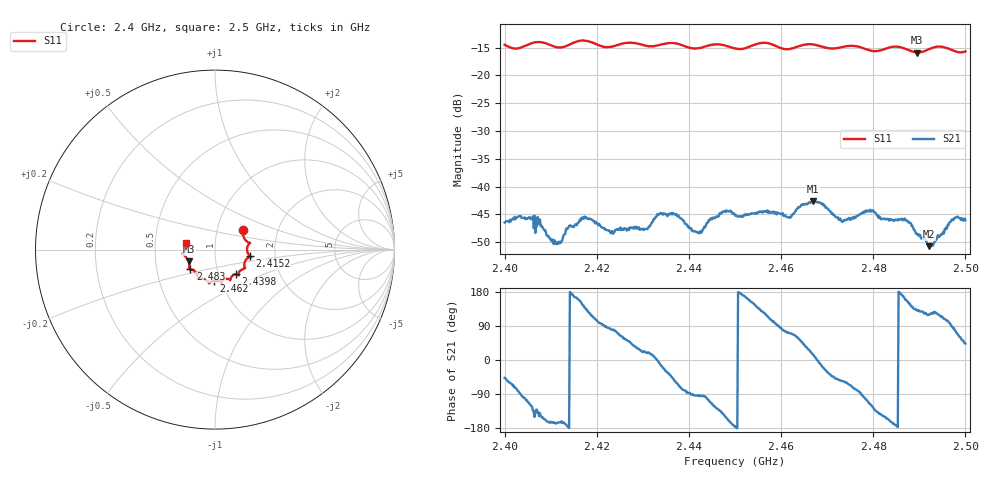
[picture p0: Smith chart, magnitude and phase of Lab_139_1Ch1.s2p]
# Hz S RI R 50
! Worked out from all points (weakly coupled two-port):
!   601 points, 2.4 GHz to 2.5 GHz, reference 50 ohm
!   highest |S21| = -42.66 dB at 2.4668 GHz (marker M1); lowest = -50.7 dB at 2.492 GHz (marker M2)
!   lowest |S11| = -15.9 dB at 2.4895 GHz (marker M3), VSWR 1.38, Z = 36.9 - j5.01 ohm
!   |S11| at or under -10 dB: start of sweep to end of sweep
!   S12 and S22 are empty: the file has one direction only
!   S11 on the Smith chart (normalised r, x): 2.4 GHz: 1.33, +0.29; 2.4152 GHz: 1.48, -0.12; 2.4398 GHz: 1.21, -0.34; 2.462 GHz: 0.93, -0.33; 2.483 GHz: 0.74, -0.17; 2.5 GHz: 0.72, +0.06
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2.4e9  0.1555 0.1066  0.00324 -0.00349  0 0  0 0
2.405667e9  0.1896 0.0383  -0.00252 -0.00442  0 0  0 0
2.411667e9  0.1785 0.00429  -0.00294 -0.000811  0 0  0 0
2.415167e9  0.195 -0.0375  -0.00434 0.00107  0 0  0 0
2.416667e9  0.2017 -0.0422  -0.00459 0.00255  0 0  0 0
2.423333e9  0.1634 -0.08  0.000716 0.00393  0 0  0 0
2.430667e9  0.1462 -0.1134  0.00393 0.00144  0 0  0 0
2.433333e9  0.131 -0.1334  0.00563 -0.00042  0 0  0 0
2.439833e9  0.1157 -0.1366  0.000233 -0.00443  0 0  0 0
2.442333e9  0.0936 -0.1497  -0.000358 -0.0038  0 0  0 0
2.447167e9  0.0837 -0.1692  -0.00454 -0.00381  0 0  0 0
2.45e9  0.0645 -0.1627  -0.00549 -0.00037  0 0  0 0
2.462e9  -0.00489 -0.1731  0.00175 0.00494  0 0  0 0
2.466667e9  -0.0342 -0.1876  0.007 0.00227  0 0  0 0
2.466833e9  -0.0343 -0.1872  0.0071 0.00194  0 0  0 0
2.473e9  -0.08 -0.1601  0.0029 -0.004  0 0  0 0
2.479167e9  -0.104 -0.1324  -0.00259 -0.00542  0 0  0 0
2.483e9  -0.1375 -0.1098  -0.00462 -0.00223  0 0  0 0
2.483333e9  -0.14 -0.1096  -0.00467 -0.00198  0 0  0 0
2.4895e9  -0.1466 -0.0661  -0.00246 0.00287  0 0  0 0
2.492e9  -0.1682 -0.0347  -0.00142 0.00254  0 0  0 0
2.5e9  -0.1599 0.0391  0.00361 0.00343  0 0  0 0
